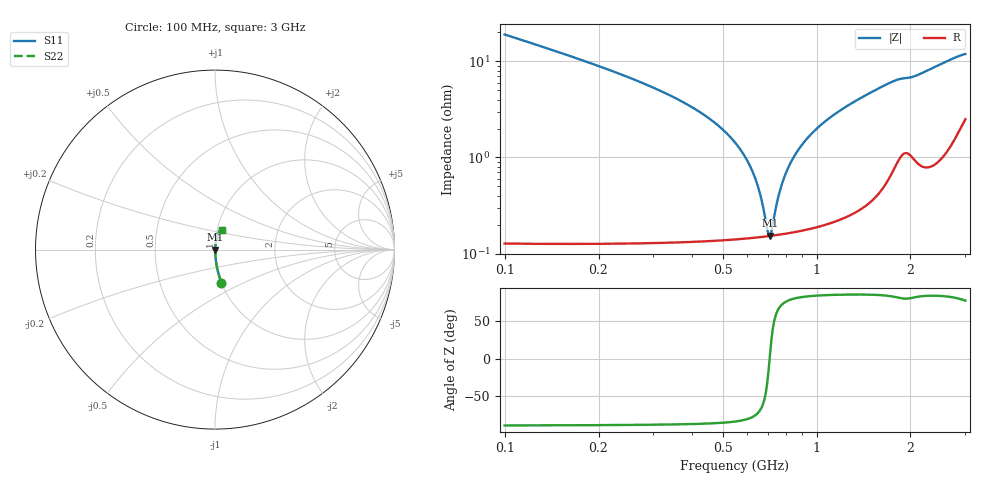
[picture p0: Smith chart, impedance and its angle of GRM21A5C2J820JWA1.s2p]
!Murata Part Number: GRM21A5C2J820JWA1
!These Parameters are Measured in Series Mode Connection
!Data Generated on Mar 30, 2021
!  o--ll--o
!Port1  Port2
!  o------o
!Operation Temp=25[degC], DC Bias Voltage=0[V]
!Freq. Start=100[MHz] Stop=3[GHz] 401[Steps]
# Hz S RI R 50
!Freq.(Hz) S11(Real) S11(Imag) S21(Real) S21(Imag) S12(Real) S12(Imag) S22(Real) S22(Imag)
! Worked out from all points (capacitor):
!   401 points, 100 MHz to 3 GHz, reference 50 ohm
!   read as one part in series: C = 81.8 pF near 114.5 MHz
!   lowest |Z| = 153 mohm at 709 MHz (marker M1)
!   series resonance near 707.2 MHz, so ESL is about 620 pH
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1e8  0.0362 -0.1834  0.9638 0.1834  0.9638 0.1834  0.0362 -0.1834
1.725e8  0.0123 -0.1046  0.9877 0.1046  0.9877 0.1046  0.0123 -0.1046
2.5225e8  0.00577 -0.0669  0.9942 0.0669  0.9942 0.0669  0.00577 -0.0669
4.77e8  0.00185 -0.0222  0.9981 0.0222  0.9981 0.0222  0.00185 -0.0222
5.35e8  0.00164 -0.0156  0.9984 0.0156  0.9984 0.0156  0.00164 -0.0156
5.8575e8  0.00154 -0.0104  0.9985 0.0104  0.9985 0.0104  0.00154 -0.0104
6.365e8  0.0015 -0.00582  0.9985 0.00582  0.9985 0.00582  0.0015 -0.00582
6.5825e8  0.0015 -0.00396  0.9985 0.00396  0.9985 0.00396  0.0015 -0.00396
6.945e8  0.00151 -0.000997  0.9985 0.000997  0.9985 0.000997  0.00151 -0.000997
7.09e8  0.00152 0.000145  0.9985 -0.000145  0.9985 -0.000145  0.00152 0.000145
7.235e8  0.00154 0.00126  0.9985 -0.00126  0.9985 -0.00126  0.00154 0.00126
7.525e8  0.00158 0.00344  0.9984 -0.00344  0.9984 -0.00344  0.00158 0.00344
7.7425e8  0.00161 0.00503  0.9984 -0.00503  0.9984 -0.00503  0.00161 0.00503
8.3225e8  0.00173 0.00907  0.9983 -0.00907  0.9983 -0.00907  0.00173 0.00907
9.3375e8  0.00202 0.0157  0.998 -0.0157  0.998 -0.0157  0.00202 0.0157
1.0715e9  0.00257 0.0239  0.9974 -0.0239  0.9974 -0.0239  0.00257 0.0239
1.2745e9  0.00372 0.0352  0.9963 -0.0352  0.9963 -0.0352  0.00372 0.0352
1.55e9  0.0064 0.0499  0.9936 -0.0499  0.9936 -0.0499  0.0064 0.0499
1.7965e9  0.0121 0.0619  0.9879 -0.0619  0.9879 -0.0619  0.0121 0.0619
2.03575e9  0.0143 0.0668  0.9857 -0.0668  0.9857 -0.0668  0.0143 0.0668
2.5215e9  0.0183 0.0916  0.9817 -0.0916  0.9817 -0.0916  0.0183 0.0916
3e9  0.0369 0.1097  0.9631 -0.1097  0.9631 -0.1097  0.0369 0.1097
